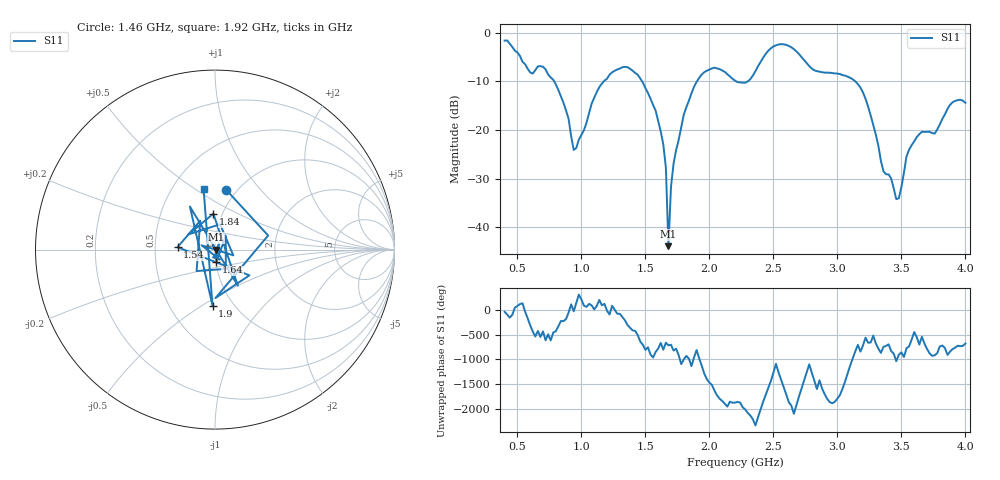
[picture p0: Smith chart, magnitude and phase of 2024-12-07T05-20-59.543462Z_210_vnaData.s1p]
!Created with skrf (http://scikit-rf.org).
# Hz S RI R 50.0
!freq ReS11 ImS11
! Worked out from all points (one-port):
!   181 points, 400 MHz to 4 GHz, reference 50 ohm
!   lowest |S11| = -43.9 dB at 1.68 GHz (marker M1), VSWR 1.01, Z = 50.6 + j0.0317 ohm
!   |S11| at or under -10 dB: 786.6 MHz to 1.176 GHz (389.3 MHz wide, 39.7 % of centre); 1.473 GHz to 1.903 GHz (429.4 MHz wide, 25.4 % of centre); 3.14 GHz to end of sweep (the widest 3 of 4)
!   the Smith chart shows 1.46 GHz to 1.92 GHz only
!   S11 on the Smith chart (normalised r, x): 1.46 GHz: 0.90, +0.67; 1.54 GHz: 0.65, +0.02; 1.64 GHz: 1.00, -0.14; 1.84 GHz: 0.91, +0.38; 1.9 GHz: 0.80, -0.55; 1.92 GHz: 0.71, +0.54
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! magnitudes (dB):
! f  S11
! 400 MHz  -1.6
! 600 MHz  -8.2
! 720 MHz  -7.6
! 860 MHz  -14.4
! 940 MHz  -24.1
! 1.14 GHz  -11.2
! 1.3 GHz  -7.4
! 1.46 GHz  -9.4
! 1.54 GHz  -13.6
! 1.64 GHz  -23.0
! 1.66 GHz  -27.7
! 1.68 GHz  -43.9
! 1.7 GHz  -31.7
! 1.76 GHz  -22.1
! 1.84 GHz  -14.0
! 1.9 GHz  -10.1
! 1.92 GHz  -9.3
! 2.04 GHz  -7.2
! 2.2 GHz  -9.9
! 2.3 GHz  -10.0
! 2.5 GHz  -2.9
! 2.66 GHz  -3.4
! 3.1 GHz  -9.3
! 3.22 GHz  -13.6
! 3.36 GHz  -28.5
! 3.46 GHz  -34.2
! 3.56 GHz  -24.1
! 4 GHz  -14.4
